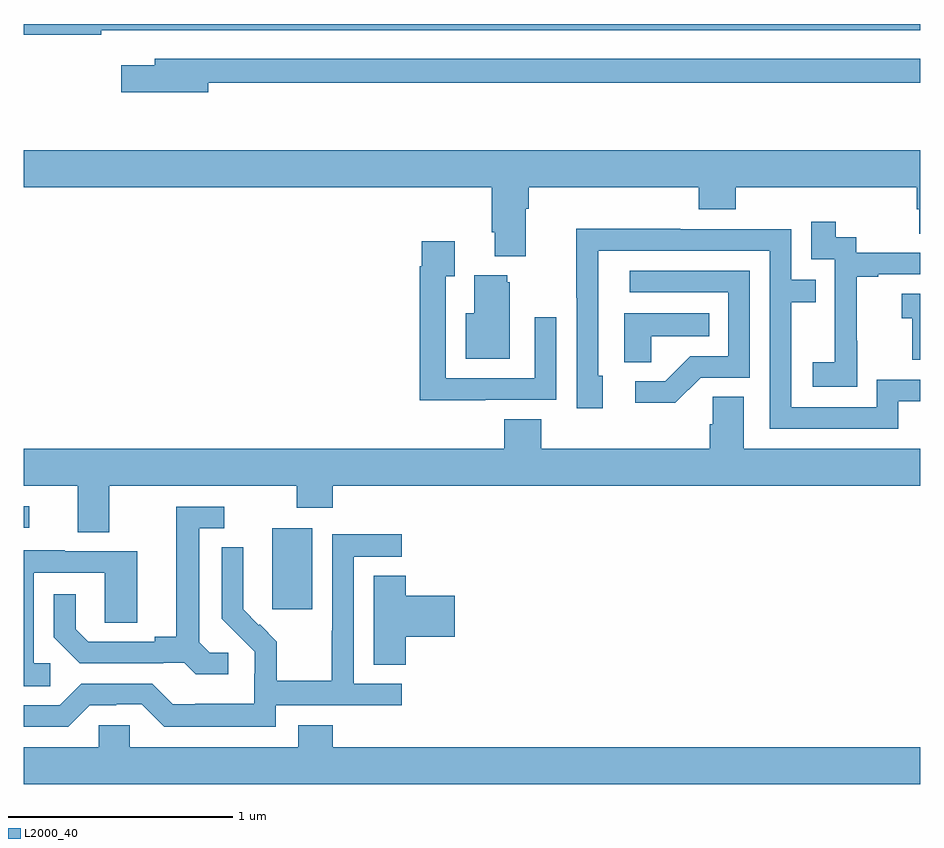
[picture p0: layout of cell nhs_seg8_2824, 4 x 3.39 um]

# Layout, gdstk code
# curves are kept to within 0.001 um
import gdstk
lib = gdstk.Library(unit=1e-6, precision=1e-09)
def R(c, l, rs):  # rectangles x0, y0, x1, y1
    for r in rs: c.add(gdstk.rectangle(r[:2], r[2:], *l))
def P(c, l, *ps):  # polygons
    for p in ps: c.add(gdstk.Polygon(p, *l))
L2000_40 = (2000, 40)

nhs_seg8_2824 = lib.new_cell('nhs_seg8_2824')
R(nhs_seg8_2824, L2000_40, [(290.108,1109.289,290.287,1109.65), (289,1109.652,289.024,1109.748)])
P(nhs_seg8_2824, L2000_40, [(289.346,1111.872),(293,1111.872),(293,1111.9),(289,1111.9),(289,1111.852),(289.346,1111.852)],
  [(289.822,1111.638),(293,1111.638),(293,1111.746),(289.583,1111.746),(289.583,1111.717),(289.434,1111.717),(289.434,1111.595),(289.822,1111.595)],
  [(291.241,1111.076),(291.254,1111.076),(291.254,1111.172),(292.013,1111.172),(292.013,1111.073),(292.178,1111.073),(292.178,1111.172),(292.985,1111.172),(292.985,1111.074),(292.997,1111.074),(292.997,1110.964),(293,1110.964),(293,1111.336),(289,1111.336),(289,1111.172),(291.089,1111.172),(291.089,1110.97),(291.101,1110.97),(291.101,1110.863),(291.241,1110.863)],
  [(292.719,1110.487),(292.718,1110.487),(292.718,1110.771),(292.813,1110.771),(292.813,1110.783),(293,1110.783),(293,1110.879),(292.716,1110.879),(292.716,1110.948),(292.624,1110.948),(292.624,1111.018),(292.515,1111.018),(292.515,1110.849),(292.62,1110.849),(292.62,1110.62),(292.619,1110.62),(292.619,1110.391),(292.521,1110.391),(292.521,1110.281),(292.719,1110.281)],
  [(292.903,1110.216),(293,1110.216),(293,1110.312),(292.806,1110.312),(292.806,1110.189),(292.425,1110.189),(292.425,1110.658),(292.535,1110.658),(292.535,1110.759),(292.425,1110.759),(292.425,1110.984),(291.929,1110.984),(291.929,1110.986),(291.466,1110.986),(291.466,1110.679),(291.468,1110.679),(291.468,1110.186),(291.583,1110.186),(291.583,1110.33),(291.564,1110.33),(291.564,1110.888),(292.329,1110.888),(292.329,1110.093),(292.903,1110.093)],
  [(291.059,1110.222),(291.375,1110.222),(291.375,1110.592),(291.279,1110.592),(291.279,1110.318),(290.883,1110.318),(290.883,1110.775),(290.923,1110.775),(290.923,1110.931),(290.775,1110.931),(290.775,1110.818),(290.767,1110.818),(290.767,1110.221),(291.059,1110.221)],
  [(292.02,1110.321),(292.239,1110.321),(292.239,1110.798),(291.705,1110.798),(291.705,1110.702),(292.143,1110.702),(292.143,1110.417),(291.974,1110.417),(291.863,1110.306),(291.729,1110.306),(291.729,1110.209),(291.907,1110.209)],
  [(291.169,1110.747),(291.158,1110.747),(291.158,1110.778),(291.011,1110.778),(291.011,1110.61),(290.972,1110.61),(290.972,1110.407),(291.169,1110.407)],
  [(293,1110.697),(292.917,1110.697),(292.917,1110.587),(292.966,1110.587),(292.966,1110.402),(293,1110.402)],
  [(291.801,1110.506),(292.058,1110.506),(292.058,1110.61),(291.68,1110.61),(291.68,1110.391),(291.801,1110.391)],
  [(289.381,1109.84),(290.218,1109.84),(290.218,1109.741),(290.378,1109.741),(290.378,1109.84),(293,1109.84),(293,1110.004),(292.213,1110.004),(292.213,1110.236),(292.074,1110.236),(292.074,1110.113),(292.061,1110.113),(292.061,1110.004),(291.308,1110.004),(291.308,1110.137),(291.143,1110.137),(291.143,1110.004),(289,1110.004),(289,1109.84),(289.241,1109.84),(289.241,1109.632),(289.381,1109.632)],
  [(289.912,1109.094),(289.83,1109.094),(289.783,1109.141),(289.783,1109.649),(289.894,1109.649),(289.894,1109.745),(289.679,1109.745),(289.679,1109.165),(289.583,1109.165),(289.583,1109.142),(289.288,1109.142),(289.231,1109.199),(289.231,1109.356),(289.134,1109.356),(289.134,1109.162),(289.25,1109.046),(289.622,1109.046),(289.622,1109.049),(289.716,1109.049),(289.768,1108.997),(289.912,1108.997)],
  [(290.124,1108.86),(290.686,1108.86),(290.686,1108.956),(290.472,1108.956),(290.472,1109.523),(290.686,1109.523),(290.686,1109.622),(290.376,1109.622),(290.376,1109.192),(290.374,1109.192),(290.374,1108.969),(290.129,1108.969),(290.129,1109.143),(290.052,1109.22),(290.049,1109.217),(289.979,1109.288),(289.98,1109.564),(289.884,1109.564),(289.884,1109.246),(290.03,1109.098),(290.03,1109.001),(290.028,1109.001),(290.028,1108.867),(289.765,1108.867),(289.765,1108.863),(289.665,1108.863),(289.572,1108.956),(289.257,1108.956),(289.161,1108.86),(289,1108.86),(289,1108.764),(289.197,1108.764),(289.293,1108.86),(289.412,1108.86),(289.412,1108.863),(289.527,1108.863),(289.627,1108.763),(290.124,1108.763)],
  [(289.117,1109.046),(289.044,1109.046),(289.044,1109.451),(289.362,1109.451),(289.362,1109.227),(289.507,1109.227),(289.507,1109.547),(289.183,1109.547),(289.183,1109.551),(289,1109.551),(289,1108.945),(289.117,1108.945)],
  [(290.705,1109.165),(290.923,1109.165),(290.923,1109.348),(290.705,1109.348),(290.705,1109.438),(290.561,1109.438),(290.561,1109.041),(290.705,1109.041)],
  [(293,1108.672),(290.378,1108.672),(290.378,1108.771),(290.225,1108.771),(290.225,1108.672),(289.473,1108.672),(289.473,1108.77),(289.335,1108.77),(289.335,1108.672),(289,1108.672),(289,1108.508),(293,1108.508)])

lib.write_gds('nhs_seg8_2824.gds')
